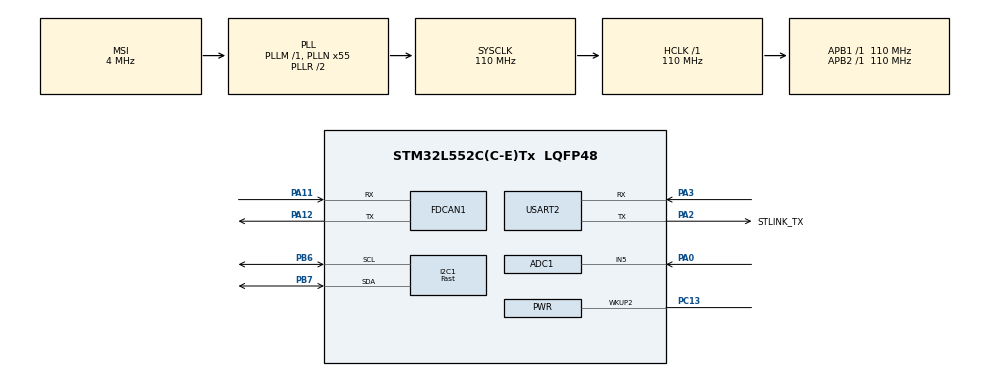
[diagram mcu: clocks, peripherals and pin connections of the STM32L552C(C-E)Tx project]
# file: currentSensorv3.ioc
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ADC1.Channel-0\#ChannelRegularConversion=ADC_CHANNEL_5
ADC1.ClockPrescaler=ADC_CLOCK_ASYNC_DIV16
ADC1.ContinuousConvMode=ENABLE
ADC1.DMAContinuousRequests=ENABLE
ADC1.NbrOfConversionFlag=1
ADC1.OffsetNumber-0\#ChannelRegularConversion=ADC_OFFSET_NONE
ADC1.Rank-0\#ChannelRegularConversion=1
ADC1.SamplingTime-0\#ChannelRegularConversion=ADC_SAMPLETIME_2CYCLES_5
ADC1.master=1
Dma.ADC1.0.Channel_PRIV_NPRIV=DMA_CHANNEL_NPRIV_DISABLE
Dma.ADC1.0.Direction=DMA_PERIPH_TO_MEMORY
Dma.ADC1.0.EventEnable=DISABLE
Dma.ADC1.0.Instance=DMA1_Channel1
Dma.ADC1.0.MemDataAlignment=DMA_MDATAALIGN_HALFWORD
Dma.ADC1.0.MemInc=DMA_MINC_ENABLE
Dma.ADC1.0.Mode=DMA_CIRCULAR
Dma.ADC1.0.PeriphDataAlignment=DMA_PDATAALIGN_HALFWORD
Dma.ADC1.0.PeriphInc=DMA_PINC_DISABLE
Dma.ADC1.0.Polarity=HAL_DMAMUX_REQ_GEN_RISING
Dma.ADC1.0.Priority=DMA_PRIORITY_LOW
Dma.ADC1.0.RequestNumber=1
Dma.ADC1.0.SignalID=NONE
Dma.ADC1.0.SyncEnable=DISABLE
Dma.ADC1.0.SyncPolarity=HAL_DMAMUX_SYNC_NO_EVENT
Dma.ADC1.0.SyncRequestNumber=1
Dma.ADC1.0.SyncSignalID=NONE
Dma.Request0=ADC1
FDCAN1.CalculateBaudRateNominal=2291666
FDCAN1.CalculateTimeBitNominal=436
FDCAN1.CalculateTimeQuantumNominal=145.45454545454547
I2C1.I2C_Speed_Mode=I2C_Fast
I2C1.Timing=0x10A21D58
Mcu.Family=STM32L5
Mcu.Name=STM32L552C(C-E)Tx
Mcu.Package=LQFP48
NVIC.DMA1_Channel1_IRQn=true\:0\:0\:false\:false\:true\:false\:true\:true
NVIC.PriorityGroup=NVIC_PRIORITYGROUP_3
PA0.Signal=ADCx_IN5
PA11.Mode=FDCAN_Activate
PA11.Signal=FDCAN1_RX
PA12.Mode=FDCAN_Activate
PA12.Signal=FDCAN1_TX
PA13\ (JTMS/SWDIO).Mode=JTAG_5_pins
PA13\ (JTMS/SWDIO).Signal=DEBUG_JTMS-SWDIO
PA14\ (JTCK/SWCLK).Mode=JTAG_5_pins
PA14\ (JTCK/SWCLK).Signal=DEBUG_JTCK-SWCLK
PA15\ (JTDI).Mode=JTAG_5_pins
PA15\ (JTDI).Signal=DEBUG_JTDI
PA2.GPIO_Label=STLINK_TX
PA2.Mode=Asynchronous
PA2.Signal=USART2_TX
PA3.Mode=Asynchronous
PA3.Signal=USART2_RX
PB3\ (JTDO/TRACESWO).Mode=JTAG_5_pins
PB3\ (JTDO/TRACESWO).Signal=DEBUG_JTDO-SWO
PB4\ (NJTRST).Mode=JTAG_5_pins
PB4\ (NJTRST).Signal=DEBUG_JTRST
PB6.Mode=I2C
PB6.Signal=I2C1_SCL
PB7.Mode=I2C
PB7.Signal=I2C1_SDA
PC13.Mode=WakeUp1
PC13.Signal=PWR_WKUP2
PC14-OSC32_IN\ (PC14).Mode=LSE-External-Oscillator
PC14-OSC32_IN\ (PC14).Signal=RCC_OSC32_IN
PC15-OSC32_OUT\ (PC15).Mode=LSE-External-Oscillator
PC15-OSC32_OUT\ (PC15).Signal=RCC_OSC32_OUT
PH0-OSC_IN\ (PH0).Mode=HSE-External-Oscillator
PH0-OSC_IN\ (PH0).Signal=RCC_OSC_IN
PH1-OSC_OUT\ (PH1).Mode=HSE-External-Oscillator
PH1-OSC_OUT\ (PH1).Signal=RCC_OSC_OUT
ProjectManager.HeapSize=0x200
ProjectManager.StackSize=0x400
ProjectManager.TargetToolchain=STM32CubeIDE
RCC.ADCFreq_Value=64000000
RCC.AHBFreq_Value=110000000
RCC.APB1Freq_Value=110000000
RCC.APB1TimFreq_Value=110000000
RCC.APB2Freq_Value=110000000
RCC.APB2TimFreq_Value=110000000
RCC.CortexFreq_Value=110000000
RCC.HCLKFreq_Value=110000000
RCC.HSE_VALUE=16000000
RCC.HSI48_VALUE=48000000
RCC.HSI_VALUE=16000000
RCC.MSI_VALUE=4000000
RCC.PLLN=55
RCC.PLLSAI1N=32
RCC.SYSCLKFreq_VALUE=110000000
RCC.SYSCLKSource=RCC_SYSCLKSOURCE_PLLCLK
RCC.USBFreq_Value=64000000
RCC.VCOOutputFreq_Value=220000000
SH.ADCx_IN5.0=ADC1_IN5,IN5-Single-Ended
USART2.VirtualMode-Asynchronous=VM_ASYNC
VP_ICACHE_VS_ICACHE.Mode=DefaultMode
VP_PWR_VS_DBSignals.Mode=DisableDeadBatterySignals
VP_PWR_VS_SECSignals.Mode=Security/Privilege
board=custom

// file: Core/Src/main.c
/* USER CODE BEGIN Header */
/**
  ******************************************************************************
  * @file           : main.c
  * @brief          : Main program body
  ******************************************************************************
  * @attention
  *
  * Copyright (c) 2026 STMicroelectronics.
  * All rights reserved.
  *
  * This software is licensed under terms that can be found in the LICENSE file
  * in the root directory of this software component.
  * If no LICENSE file comes with this software, it is provided AS-IS.
  *
  ******************************************************************************
  */
/* USER CODE END Header */
#include "main.h"
#include "adc.h"
#include "dma.h"
#include "fdcan.h"
#include "i2c.h"
#include "icache.h"
#include "usart.h"
#include "usb_device.h"
#include "gpio.h"

/* USER CODE BEGIN Includes */
#include "sh1106.h"
#include "usb_driver.h"
#include <string.h>
#include <stdio.h>
/* USER CODE END Includes */

/* USER CODE BEGIN PD */
#define ADC_VREF            3.3f
#define ADC_MAX             4096.0f

#define OPAMP_GAIN          0.833f
#define SENSOR_OFFSET_V     0.5f
#define SENSOR_SENSITIVITY  0.100f // Change this (based on the datasheet)

#define NUM_SAMPLES         8
#define CAN_TX_INTERVAL_MS  100
#define DISPLAY_UPDATE_MS   200
/* USER CODE END PD */

/* USER CODE BEGIN PV */
volatile int time;
volatile float voltage;
volatile float current;
volatile uint16_t AD_RES[NUM_SAMPLES];
volatile uint8_t adc_ready = 0;

FDCAN_TxHeaderTypeDef TxHeader;
uint8_t TxData[4];
uint32_t last_can_tx_time = 0;
uint32_t last_display_time = 0;
uint32_t last_usb_tx_time = 0;

typedef struct {
  uint32_t sensor_ns;
  uint32_t dma_ns;
  uint32_t oled_ns;
} perfstats;

perfstats my_perfstats;
uint32_t startTime = 0;

/* USER CODE END PV */

void SystemClock_Config(void);

/* USER CODE BEGIN 0 */
// Return raw ADC voltage (0-3.3)
float ReadADC(void) {
  uint32_t sum = 0;
	for (int i = 0; i < NUM_SAMPLES; i++) {
		sum += AD_RES[i];
	}
	return ((float)sum / NUM_SAMPLES * ADC_VREF) / ADC_MAX;
}

// Undo gain and calculate current from sensitivity
void SetCurrent(float adc_voltage) {
  float sensor_voltage = adc_voltage / OPAMP_GAIN;
  current = (sensor_voltage - SENSOR_OFFSET_V) / SENSOR_SENSITIVITY;
}

void HAL_ADC_ConvCpltCallback(ADC_HandleTypeDef* hadc) {
  if (hadc->Instance == ADC1) {
    adc_ready = 1;
    my_perfstats.dma_ns = HAL_GetTick() - startTime;
  }
}
/* USER CODE END 0 */

int main(void)
{

  /* MCU Configuration--------------------------------------------------------*/

  /* Reset of all peripherals, Initializes the Flash interface and the Systick. */
  HAL_Init();

  /* Configure the system clock */
  SystemClock_Config();

  /* Initialize all configured peripherals */
  MX_GPIO_Init();
  MX_DMA_Init();
  MX_FDCAN1_Init();
  MX_USART2_UART_Init();
  MX_ADC1_Init();
  MX_I2C1_Init();
  MX_ICACHE_Init();
  MX_USB_Device_Init();
  /* USER CODE BEGIN 2 */
  HAL_ADCEx_Calibration_Start(&hadc1, ADC_SINGLE_ENDED);
  HAL_ADC_Start_DMA(&hadc1, (uint32_t *)AD_RES, NUM_SAMPLES);

  HAL_FDCAN_Start(&hfdcan1);
  TxHeader.Identifier = 0x6A; // Probably gotta maybe perhaps change
  TxHeader.IdType = FDCAN_STANDARD_ID;
  TxHeader.TxFrameType = FDCAN_DATA_FRAME;
  TxHeader.DataLength = FDCAN_DLC_BYTES_4;
  TxHeader.FDFormat = FDCAN_CLASSIC_CAN;

  SH1106_Init();
  SH1106_GotoXY(2, 0);
  SH1106_Puts("Initializing...", &Font_7x10, 1);
  SH1106_DrawBitmap(2, 15, bfr_logo, 64, 64, 1);
  SH1106_UpdateScreenDMA();
  SH1106_Flush();
  HAL_Delay(1000);
  SH1106_Clear();
  /* USER CODE END 2 */

  /* Infinite loop */
  /* USER CODE BEGIN WHILE */
  while (1)
  {
    if (adc_ready) {
      adc_ready = 0;
      startTime = HAL_GetTick();
      voltage = ReadADC();
      SetCurrent(voltage);
      uint32_t now = HAL_GetTick();

      if ((now - last_display_time) >= DISPLAY_UPDATE_MS) {
          last_display_time = now;
          SH1106_Flush();  // ensure previous DMA transfer is done
          SH1106_Fill(SH1106_COLOR_BLACK);  // clear framebuffer
          char buffer[22];
          snprintf(buffer, sizeof(buffer), "Current: %.2f A", current);
          SH1106_GotoXY(2, 0);
          SH1106_Puts(buffer, &Font_7x10, 1);
          SH1106_UpdateScreenDMA();  // non-blocking
      }

      if ((now - last_can_tx_time) >= CAN_TX_INTERVAL_MS) {
        last_can_tx_time = now;
        float current_snapshot = current;
        memcpy(TxData, &current_snapshot, sizeof(current_snapshot));
        HAL_FDCAN_AddMessageToTxFifoQ(&hfdcan1, &TxHeader, TxData);
      }

      if (USB_Driver_IsConfigured() && ((now - last_usb_tx_time) >= 1000U)) {
        last_usb_tx_time = now;

        char usb_buffer[64];
        snprintf(usb_buffer, sizeof(usb_buffer),
                 "ADC: %.3f V  Current: %.2f A\r\n",
                 voltage, current);
        USB_Driver_WriteString(usb_buffer);
      }

      time += 1;
    }
    /* USER CODE END WHILE */

  }
}

void SystemClock_Config(void)
{
  RCC_OscInitTypeDef RCC_OscInitStruct = {0};
  RCC_ClkInitTypeDef RCC_ClkInitStruct = {0};

  /** Configure the main internal regulator output voltage
  */
  if (HAL_PWREx_ControlVoltageScaling(PWR_REGULATOR_VOLTAGE_SCALE0) != HAL_OK)
  {
    Error_Handler();
  }

  /** Initializes the RCC Oscillators according to the specified parameters
  * in the RCC_OscInitTypeDef structure.
  */
  RCC_OscInitStruct.OscillatorType = RCC_OSCILLATORTYPE_HSI48|RCC_OSCILLATORTYPE_MSI;
  RCC_OscInitStruct.HSI48State = RCC_HSI48_ON;
  RCC_OscInitStruct.MSIState = RCC_MSI_ON;
  RCC_OscInitStruct.MSICalibrationValue = RCC_MSICALIBRATION_DEFAULT;
  RCC_OscInitStruct.MSIClockRange = RCC_MSIRANGE_6;
  RCC_OscInitStruct.PLL.PLLState = RCC_PLL_ON;
  RCC_OscInitStruct.PLL.PLLSource = RCC_PLLSOURCE_MSI;
  RCC_OscInitStruct.PLL.PLLM = 1;
  RCC_OscInitStruct.PLL.PLLN = 55;
  RCC_OscInitStruct.PLL.PLLP = RCC_PLLP_DIV7;
  RCC_OscInitStruct.PLL.PLLQ = RCC_PLLQ_DIV2;
  RCC_OscInitStruct.PLL.PLLR = RCC_PLLR_DIV2;
  if (HAL_RCC_OscConfig(&RCC_OscInitStruct) != HAL_OK)
  {
    Error_Handler();
  }

  /** Initializes the CPU, AHB and APB buses clocks
  */
  RCC_ClkInitStruct.ClockType = RCC_CLOCKTYPE_HCLK|RCC_CLOCKTYPE_SYSCLK
                              |RCC_CLOCKTYPE_PCLK1|RCC_CLOCKTYPE_PCLK2;
  RCC_ClkInitStruct.SYSCLKSource = RCC_SYSCLKSOURCE_PLLCLK;
  RCC_ClkInitStruct.AHBCLKDivider = RCC_SYSCLK_DIV1;
  RCC_ClkInitStruct.APB1CLKDivider = RCC_HCLK_DIV1;
  RCC_ClkInitStruct.APB2CLKDivider = RCC_HCLK_DIV1;

  if (HAL_RCC_ClockConfig(&RCC_ClkInitStruct, FLASH_LATENCY_5) != HAL_OK)
  {
    Error_Handler();
  }
}

void Error_Handler(void)
{
  __disable_irq();
  while (1)
  {
  }
}
